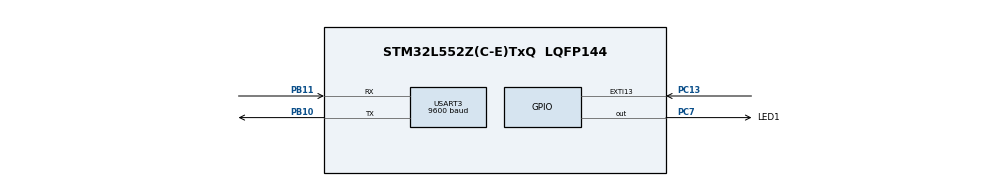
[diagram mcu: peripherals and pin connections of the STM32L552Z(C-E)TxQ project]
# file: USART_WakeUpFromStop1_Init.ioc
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Mcu.Family=STM32L5
Mcu.Name=STM32L552Z(C-E)TxQ
Mcu.Package=LQFP144
Mcu.TrustZone=disable
NVIC.PriorityGroup=NVIC_PRIORITYGROUP_3
NVIC.USART3_IRQn=true\:0\:0\:false\:false\:true\:true\:true\:true
PB10.GPIO_PuPd=GPIO_PULLUP
PB10.GPIO_Speed=GPIO_SPEED_FREQ_HIGH
PB10.Mode=Asynchronous
PB10.Signal=USART3_TX
PB11.GPIO_PuPd=GPIO_PULLUP
PB11.GPIO_Speed=GPIO_SPEED_FREQ_HIGH
PB11.Mode=Asynchronous
PB11.Signal=USART3_RX
PC13.Signal=GPXTI13
PC7.GPIO_Label=LED1
PC7.GPIO_PuPd=GPIO_NOPULL
PC7.Signal=GPIO_Output
ProjectManager.HeapSize=0x200
ProjectManager.StackSize=0x400
ProjectManager.TargetToolchain=EWARM V8.32
RCC.ADCFreq_Value=48000000
RCC.AHBFreq_Value=16000000
RCC.APB1Freq_Value=16000000
RCC.APB1TimFreq_Value=16000000
RCC.APB2Freq_Value=16000000
RCC.APB2TimFreq_Value=16000000
RCC.CortexFreq_Value=16000000
RCC.HCLKFreq_Value=16000000
RCC.HSE_VALUE=16000000
RCC.HSI48_VALUE=48000000
RCC.HSI_VALUE=16000000
RCC.LPUART1CLockSelectionVirtual=RCC_LPUART1CLKSOURCE_HSI
RCC.LSE_VALUE=32768
RCC.MSI_VALUE=4000000
RCC.PLLM=4
RCC.PLLN=55
RCC.PLLSAI1N=24
RCC.PLLSourceVirtual=RCC_PLLSOURCE_HSI
RCC.RTCClockSelection=RCC_RTCCLKSOURCE_LSE
RCC.SYSCLKFreq_VALUE=16000000
RCC.SYSCLKSource=RCC_SYSCLKSOURCE_HSI
RCC.USART1CLockSelectionVirtual=RCC_USART1CLKSOURCE_HSI
RCC.USART2CLockSelectionVirtual=RCC_USART2CLKSOURCE_HSI
RCC.USART3CLockSelectionVirtual=RCC_USART3CLKSOURCE_HSI
RCC.USBFreq_Value=48000000
RCC.VCOOutputFreq_Value=220000000
USART3.AutoBaudRateEnableParam=UART_ADVFEATURE_AUTOBAUDRATE_DISABLE
USART3.BaudRate=9600
USART3.ClockPrescaler=PRESCALER_DIV1
USART3.DMADisableonRxErrorParam=ADVFEATURE_DMA_ENABLEONRXERROR
USART3.DataInvertParam=ADVFEATURE_DATAINV_DISABLE
USART3.FIFOMode=FIFOMODE_DISABLE
USART3.MSBFirstParam=ADVFEATURE_MSBFIRST_DISABLE
USART3.Mode=MODE_TX_RX
USART3.OneBitSampling=UART_ONE_BIT_SAMPLE_DISABLE
USART3.OverSampling=UART_OVERSAMPLING_16
USART3.OverrunDisableParam=ADVFEATURE_OVERRUN_ENABLE
USART3.Parity=PARITY_NONE
USART3.RXFIFOThreshold=RXFIFO_THRESHOLD_1EIGHTHFULL
USART3.RxPinLevelInvertParam=ADVFEATURE_RXINV_DISABLE
USART3.StopBits=STOPBITS_1
USART3.SwapParam=ADVFEATURE_SWAP_DISABLE
USART3.TXFIFOThreshold=TXFIFO_THRESHOLD_1EIGHTHFULL
USART3.TxPinLevelInvertParam=ADVFEATURE_TXINV_DISABLE
USART3.VirtualMode-Asynchronous=VM_ASYNC
USART3.WordLength=WORDLENGTH_8B
VP_ICACHE_VS_ICACHE.Mode=DirectMappedCache
VP_PWR_VS_DBSignals.Mode=DisableDeadBatterySignals
board=custom

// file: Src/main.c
/* USER CODE BEGIN Header */
/**
  ******************************************************************************
  * @file    Examples_LL/USART/USART_WakeUpFromStop1_Init/Src/main.c
  * @author  MCD Application Team
  * @brief   This example describes how to configure USART3 peripheral in Asynchronous mode
  *          for being able to wake from Stop 1 mode when a character is received on RX line using
  *          the STM32L5xx USART LL API.
  *          Peripheral initialization done using LL unitary services functions.
  ******************************************************************************
  * @attention
  *
  * Copyright (c) 2019 STMicroelectronics.
  * All rights reserved.
  *
  * This software is licensed under terms that can be found in the LICENSE file
  * in the root directory of this software component.
  * If no LICENSE file comes with this software, it is provided AS-IS.
  *
  ******************************************************************************
  */
/* USER CODE END Header */
#include "main.h"

/* USER CODE BEGIN PV */

/**
  * @brief Variables used for character reception from PC Com port
  */
__IO uint8_t      ubFinalCharReceived = 0;
__IO uint32_t     ubReceivedChar;

/**
  * @brief Text string printed on PC Com port to inform MCU will enter in Stop 1 Mode
  */
uint8_t aTextInfo[] = "\r\nUSART3 Example : MCU will now enter in Stop 1 mode.\n\rEnter any character for waking up MCU.\r\n";

/* USER CODE END PV */

void SystemClock_Config(void);
static void MX_GPIO_Init(void);
static void MX_ICACHE_Init(void);
static void MX_USART3_UART_Init(void);
/* USER CODE BEGIN PFP */

void     LED_On(void);
void     LED_Off(void);
void     LED_Blinking(uint32_t Period);
void     LED_Blinking_3s(void);
void     Configure_PWR(void);
void     PrepareUSARTToStopMode(void);
void     EnterSTOP1Mode(void);
void     PrintInfo(void);

/* USER CODE END PFP */

int main(void)
{

  /* MCU Configuration--------------------------------------------------------*/

  /* Reset of all peripherals, Initializes the Flash interface and the Systick. */
  LL_APB2_GRP1_EnableClock(LL_APB2_GRP1_PERIPH_SYSCFG);
  LL_APB1_GRP1_EnableClock(LL_APB1_GRP1_PERIPH_PWR);

  /* System interrupt init*/
  NVIC_SetPriorityGrouping(NVIC_PRIORITYGROUP_3);

  /** Disable the internal Pull-Up in Dead Battery pins of UCPD peripheral
  */
  LL_PWR_DisableUCPDDeadBattery();

  /* Configure the system clock */
  SystemClock_Config();

  /* Initialize all configured peripherals */
  MX_GPIO_Init();
  MX_ICACHE_Init();
  MX_USART3_UART_Init();
  /* USER CODE BEGIN 2 */

  /* Configure Power IP */
  Configure_PWR();

  /* Start main program loop :
     - make LED blink during 3 sec
     - Enter Stop 1 mode (LED turned Off)
     - Wait for any character received on USART3 RX line for waking up MCU
  */
  while (ubFinalCharReceived == 0)
  {
    /* LED blinks during 3 seconds */
    LED_Blinking_3s();

    /* Send Text Information on USART3 TX to PC Com port */
    PrintInfo();

    /* Prepare USART3 for entering Stop Mode */
    PrepareUSARTToStopMode();

    /* Enter Stop 1 mode */
    EnterSTOP1Mode();

    /* At this point, MCU just wakes up from Stop 1 mode */
  }

  /* USER CODE END 2 */

  /* Infinite loop */
  while (1)
  {

  }
}

void SystemClock_Config(void)
{
  LL_FLASH_SetLatency(LL_FLASH_LATENCY_1);
  while(LL_FLASH_GetLatency()!= LL_FLASH_LATENCY_1)
  {
  }

  LL_PWR_SetRegulVoltageScaling(LL_PWR_REGU_VOLTAGE_SCALE2);
  LL_RCC_HSI_Enable();

   /* Wait till HSI is ready */
  while(LL_RCC_HSI_IsReady() != 1)
  {
  }

  LL_RCC_HSI_SetCalibTrimming(64);
  LL_RCC_SetSysClkSource(LL_RCC_SYS_CLKSOURCE_HSI);

   /* Wait till System clock is ready */
  while(LL_RCC_GetSysClkSource() != LL_RCC_SYS_CLKSOURCE_STATUS_HSI)
  {
  }

  LL_RCC_SetAHBPrescaler(LL_RCC_SYSCLK_DIV_1);
  LL_RCC_SetAPB1Prescaler(LL_RCC_APB1_DIV_1);
  LL_RCC_SetAPB2Prescaler(LL_RCC_APB2_DIV_1);

  LL_Init1msTick(16000000);

  LL_SetSystemCoreClock(16000000);
}

static void MX_ICACHE_Init(void)
{

  /** Enable instruction cache in 1-way (direct mapped cache)
  */
  LL_ICACHE_SetMode(LL_ICACHE_1WAY);
  LL_ICACHE_Enable();

}

static void MX_USART3_UART_Init(void)
{

  LL_USART_InitTypeDef USART_InitStruct = {0};

  LL_GPIO_InitTypeDef GPIO_InitStruct = {0};

  LL_RCC_SetUSARTClockSource(LL_RCC_USART3_CLKSOURCE_HSI);

  /* Peripheral clock enable */
  LL_APB1_GRP1_EnableClock(LL_APB1_GRP1_PERIPH_USART3);

  LL_AHB2_GRP1_EnableClock(LL_AHB2_GRP1_PERIPH_GPIOB);
  /**USART3 GPIO Configuration
  PB10   ------> USART3_TX
  PB11   ------> USART3_RX
  */
  GPIO_InitStruct.Pin = LL_GPIO_PIN_10|LL_GPIO_PIN_11;
  GPIO_InitStruct.Mode = LL_GPIO_MODE_ALTERNATE;
  GPIO_InitStruct.Speed = LL_GPIO_SPEED_FREQ_HIGH;
  GPIO_InitStruct.OutputType = LL_GPIO_OUTPUT_PUSHPULL;
  GPIO_InitStruct.Pull = LL_GPIO_PULL_UP;
  GPIO_InitStruct.Alternate = LL_GPIO_AF_7;
  LL_GPIO_Init(GPIOB, &GPIO_InitStruct);

  /* USART3 interrupt Init */
  NVIC_SetPriority(USART3_IRQn, NVIC_EncodePriority(NVIC_GetPriorityGrouping(),0, 0));
  NVIC_EnableIRQ(USART3_IRQn);

  USART_InitStruct.PrescalerValue = LL_USART_PRESCALER_DIV1;
  USART_InitStruct.BaudRate = 9600;
  USART_InitStruct.DataWidth = LL_USART_DATAWIDTH_8B;
  USART_InitStruct.StopBits = LL_USART_STOPBITS_1;
  USART_InitStruct.Parity = LL_USART_PARITY_NONE;
  USART_InitStruct.TransferDirection = LL_USART_DIRECTION_TX_RX;
  USART_InitStruct.HardwareFlowControl = LL_USART_HWCONTROL_NONE;
  USART_InitStruct.OverSampling = LL_USART_OVERSAMPLING_16;
  LL_USART_Init(USART3, &USART_InitStruct);
  LL_USART_SetTXFIFOThreshold(USART3, LL_USART_FIFOTHRESHOLD_1_8);
  LL_USART_SetRXFIFOThreshold(USART3, LL_USART_FIFOTHRESHOLD_1_8);
  LL_USART_DisableFIFO(USART3);
  LL_USART_ConfigAsyncMode(USART3);
  LL_USART_Enable(USART3);
  /* USER CODE BEGIN USART3_Init 2 */

  LL_USART_Disable(USART3);
  /* Configure WakeUp Type */
  LL_USART_SetWKUPType(USART3,LL_USART_WAKEUP_ON_RXNE);
  LL_USART_Enable(USART3);

  /* Polling USART3 initialisation */
  while ((!(LL_USART_IsActiveFlag_TEACK(USART3))) || (!(LL_USART_IsActiveFlag_REACK(USART3))))
  {
  }
  /* USER CODE END USART3_Init 2 */

}

static void MX_GPIO_Init(void)
{
  LL_EXTI_InitTypeDef EXTI_InitStruct = {0};
  LL_GPIO_InitTypeDef GPIO_InitStruct = {0};

  /* GPIO Ports Clock Enable */
  LL_AHB2_GRP1_EnableClock(LL_AHB2_GRP1_PERIPH_GPIOC);
  LL_AHB2_GRP1_EnableClock(LL_AHB2_GRP1_PERIPH_GPIOB);

  /**/
  LL_GPIO_ResetOutputPin(LED1_GPIO_Port, LED1_Pin);

  /**/
  LL_EXTI_SetEXTISource(LL_EXTI_EXTI_PORTC, LL_EXTI_EXTI_LINE13);

  /**/
  EXTI_InitStruct.Line_0_31 = LL_EXTI_LINE_13;
  EXTI_InitStruct.Line_32_63 = LL_EXTI_LINE_NONE;
  EXTI_InitStruct.LineCommand = ENABLE;
  EXTI_InitStruct.Mode = LL_EXTI_MODE_IT;
  EXTI_InitStruct.Trigger = LL_EXTI_TRIGGER_RISING;
  LL_EXTI_Init(&EXTI_InitStruct);

  /**/
  LL_GPIO_SetPinPull(GPIOC, LL_GPIO_PIN_13, LL_GPIO_PULL_NO);

  /**/
  LL_GPIO_SetPinMode(GPIOC, LL_GPIO_PIN_13, LL_GPIO_MODE_INPUT);

  /**/
  GPIO_InitStruct.Pin = LED1_Pin;
  GPIO_InitStruct.Mode = LL_GPIO_MODE_OUTPUT;
  GPIO_InitStruct.Speed = LL_GPIO_SPEED_FREQ_LOW;
  GPIO_InitStruct.OutputType = LL_GPIO_OUTPUT_PUSHPULL;
  GPIO_InitStruct.Pull = LL_GPIO_PULL_NO;
  LL_GPIO_Init(LED1_GPIO_Port, &GPIO_InitStruct);

}

/* USER CODE BEGIN 4 */

/**
  * @brief  Function to configure and initialize PWR IP.
  * @param  None
  * @retval None
  */
void Configure_PWR(void)
{
  /* Ensure that HSI is wake-up system clock */
  LL_RCC_SetClkAfterWakeFromStop(LL_RCC_STOP_WAKEUPCLOCK_HSI);
}

/**
  * @brief  Function to configure USART3 for being ready to enter Stop 1 mode.
  * @param  None
  * @retval None
  */
void PrepareUSARTToStopMode(void)
{

  /* Empty RX Fifo before entering Stop 1 mode (Otherwise, characters already present in FIFO
     will lead to immediate wake up */
  while (LL_USART_IsActiveFlag_RXNE(USART3))
  {
    /* Read Received character. RXNE flag is cleared by reading of RDR register */
    ubReceivedChar = LL_USART_ReceiveData8(USART3);
  }

  /* Clear OVERRUN flag */
  LL_USART_ClearFlag_ORE(USART3);

  /* Make sure that no USART3 transfer is on-going */
  while (LL_USART_IsActiveFlag_BUSY(USART3) == 1)
  {
  }
  /* Make sure that USART3 is ready to receive */
  while (LL_USART_IsActiveFlag_REACK(USART3) == 0)
  {
  }

  /* About to enter stop mode: switch off LED */
  LED_Off();

  /* Configure USART3 transfer interrupts : */
  /* Clear WUF flag and enable the UART Wake Up from stop mode Interrupt */
  LL_USART_ClearFlag_WKUP(USART3);
  LL_USART_EnableIT_WKUP(USART3);

  /* Enable Wake Up From Stop */
  LL_USART_EnableInStopMode(USART3);
}

/**
  * @brief  Function to enter in Stop 1 mode.
  * @param  None
  * @retval None
  */
void EnterSTOP1Mode(void)
{
  /** Request to enter Stop 1 mode
    * Following procedure described in STM32L5xx Reference Manual
    * See PWR part, section Low-power modes, Stop 1 mode
    */
  /* Set STOP 1 mode when CPU enters deepsleep */
  LL_PWR_SetPowerMode(LL_PWR_MODE_STOP1);

  /* Set SLEEPDEEP bit of Cortex System Control Register */
  LL_LPM_EnableDeepSleep();

  /* Request Wait For Interrupt */
  __WFI();
}

/**
  * @brief  Send Txt information message on USART3 Tx line (to PC Com port).
  * @param  None
  * @retval None
  */
void PrintInfo(void)
{
  uint32_t index = 0;

  /* Send characters one per one, until last char to be sent */
  for (index = 0; index < sizeof(aTextInfo); index++)
  {
    /* Wait for TXE flag to be raised */
    while (!LL_USART_IsActiveFlag_TXE(USART3))
    {
    }

    /* Write character in Transmit Data register.
       TXE flag is cleared by writing data in TDR register */
    LL_USART_TransmitData8(USART3, aTextInfo[index]);
  }

  /* Wait for TC flag to be raised for last char */
  while (!LL_USART_IsActiveFlag_TC(USART3))
  {
  }
}

/**
  * @brief  Turn-on LED1.
  * @param  None
  * @retval None
  */
void LED_On(void)
{
  /* Turn LED1 on */
  LL_GPIO_SetOutputPin(LED1_GPIO_Port, LED1_Pin);
}

/**
  * @brief  Turn-off LED1.
  * @param  None
  * @retval None
  */
void LED_Off(void)
{
  /* Turn LED1 off */
  LL_GPIO_ResetOutputPin(LED1_GPIO_Port, LED1_Pin);
}

/**
  * @brief  Set LED1 to Blinking mode for an infinite loop (toggle period based on value provided as input parameter).
  * @param  Period : Period of time (in ms) between each toggling of LED
  *   This parameter can be user defined values. Pre-defined values used in that example are :
  *     @arg LED_BLINK_FAST : Fast Blinking
  *     @arg LED_BLINK_SLOW : Slow Blinking
  *     @arg LED_BLINK_ERROR : Error specific Blinking
  * @retval None
  */
void LED_Blinking(uint32_t Period)
{
  /* Toggle IO in an infinite loop */
  while (1)
  {
    LL_GPIO_TogglePin(LED1_GPIO_Port, LED1_Pin);
    LL_mDelay(Period);
  }
}

/**
  * @brief  Set LED1 to Blinking mode during 3s.
  * @param  None
  * @retval None
  */
void LED_Blinking_3s(void)
{
  uint32_t index = 0;

  /* Toggle IO in during 3s (15*200ms) */
  for (index = 0; index < 15; index++)
  {
    LL_GPIO_TogglePin(LED1_GPIO_Port, LED1_Pin);
    LL_mDelay(200);
  }
}

/******************************************************************************/
/*   IRQ HANDLER TREATMENT Functions                                          */
/******************************************************************************/

/**
  * @brief  Function called from USART3 IRQ Handler when RXNE flag is set
  *         Function is in charge of reading character received on USART3 RX line.
  * @param  None
  * @retval None
  */
void USART3_CharReception_Callback(void)
{
  /* Read Received character. RXNE flag is cleared by reading of RDR register */
  ubReceivedChar = LL_USART_ReceiveData8(USART3);

  /* Check if received value is corresponding to specific one : S or s */
  if ((ubReceivedChar == 'S') || (ubReceivedChar == 's'))
  {
    /* Turn LED1 On : Expected character has been received */
    LED_On();

    /* End of program : set boolean for main loop exit */
    ubFinalCharReceived = 1;
  }

  /* Echo received character on TX */
  LL_USART_TransmitData8(USART3, ubReceivedChar);
}

/**
  * @brief  Function called in case of error detected in USART IT Handler
  * @param  None
  * @retval None
  */
void Error_Callback(void)
{
  /* Disable USART3_IRQn */
  NVIC_DisableIRQ(USART3_IRQn);

  /* Unexpected event : Set LED1 to Blinking mode to indicate error occurs */
  LED_Blinking(LED_BLINK_ERROR);
}

/* USER CODE END 4 */

void Error_Handler(void)
{
  while(1)
  {
  }
}

#ifdef  USE_FULL_ASSERT
/**
  * @brief  Reports the name of the source file and the source line number
  *         where the assert_param error has occurred.
  * @param  file: pointer to the source file name
  * @param  line: assert_param error line source number
  * @retval None
  */
void assert_failed(uint8_t *file, uint32_t line)
{
  /* USER CODE BEGIN 6 */
  /* User can add his own implementation to report the file name and line number,
     ex: printf("Wrong parameters value: file %s on line %d\r\n", file, line) */
  /* Infinite loop */
  while (1)
  {}
  /* USER CODE END 6 */
}
#endif /* USE_FULL_ASSERT */
